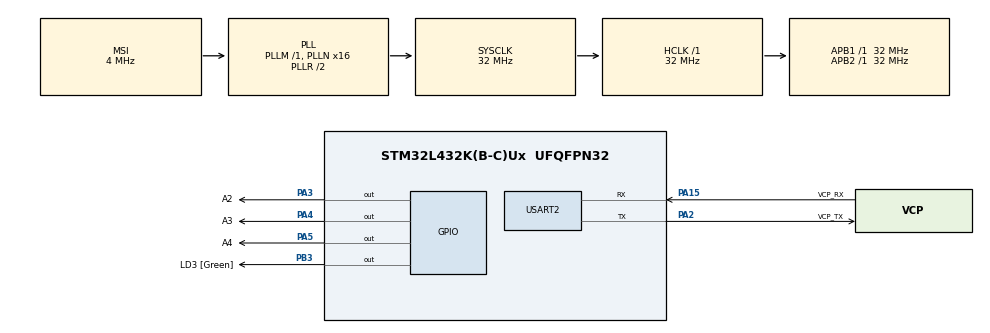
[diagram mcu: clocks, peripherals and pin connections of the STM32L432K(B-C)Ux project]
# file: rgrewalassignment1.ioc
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Mcu.Family=STM32L4
Mcu.Name=STM32L432K(B-C)Ux
Mcu.Package=UFQFPN32
NVIC.PriorityGroup=NVIC_PRIORITYGROUP_4
PA0.GPIO_Label=MCO [High speed clock in]
PA0.Mode=HSE-External-Clock-Source-for-LittleOrca
PA0.Signal=RCC_CK_IN
PA13\ (JTMS-SWDIO).GPIO_Label=SWDIO
PA13\ (JTMS-SWDIO).Mode=Serial_Wire
PA13\ (JTMS-SWDIO).Signal=SYS_JTMS-SWDIO
PA14\ (JTCK-SWCLK).GPIO_Label=SWCLK
PA14\ (JTCK-SWCLK).Mode=Serial_Wire
PA14\ (JTCK-SWCLK).Signal=SYS_JTCK-SWCLK
PA15\ (JTDI).GPIO_Label=VCP_RX
PA15\ (JTDI).Mode=Asynchronous
PA15\ (JTDI).Signal=USART2_RX
PA2.GPIO_Label=VCP_TX
PA2.Mode=Asynchronous
PA2.Signal=USART2_TX
PA3.GPIO_Label=A2
PA3.Signal=GPIO_Output
PA4.GPIO_Label=A3
PA4.Signal=GPIO_Output
PA5.GPIO_Label=A4
PA5.Signal=GPIO_Output
PB3\ (JTDO-TRACESWO).GPIO_Label=LD3 [Green]
PB3\ (JTDO-TRACESWO).Signal=GPIO_Output
PC14-OSC32_IN\ (PC14).Mode=LSE-External-Oscillator
PC14-OSC32_IN\ (PC14).Signal=RCC_OSC32_IN
PC15-OSC32_OUT\ (PC15).Mode=LSE-External-Oscillator
PC15-OSC32_OUT\ (PC15).Signal=RCC_OSC32_OUT
ProjectManager.HeapSize=0x200
ProjectManager.StackSize=0x400
ProjectManager.TargetToolchain=STM32CubeIDE
RCC.AHBFreq_Value=32000000
RCC.APB1Freq_Value=32000000
RCC.APB1TimFreq_Value=32000000
RCC.APB2Freq_Value=32000000
RCC.APB2TimFreq_Value=32000000
RCC.CortexFreq_Value=32000000
RCC.HCLKFreq_Value=32000000
RCC.HSE_VALUE=8000000
RCC.HSI16_VALUE=16000000
RCC.HSI48_VALUE=48000000
RCC.HSI_VALUE=16000000
RCC.MSI_VALUE=4000000
RCC.PLLMUL=RCC_PLLMUL_4
RCC.PLLN=16
RCC.SYSCLKFreq_VALUE=32000000
RCC.SYSCLKSource=RCC_SYSCLKSOURCE_PLLCLK
RCC.VCOOutputFreq_Value=64000000
USART2.VirtualMode-Asynchronous=VM_ASYNC
board=NUCLEO-L432KC

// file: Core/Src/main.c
/* USER CODE BEGIN Header */
/**
  ******************************************************************************
  * @file           : main.c
  * @brief          : Main program body
  ******************************************************************************
  * @attention
  *
  * Copyright (c) 2023 STMicroelectronics.
  * All rights reserved.
  *
  * This software is licensed under terms that can be found in the LICENSE file
  * in the root directory of this software component.
  * If no LICENSE file comes with this software, it is provided AS-IS.
  *
  ******************************************************************************
  */
/* USER CODE END Header */
#include "main.h"

UART_HandleTypeDef huart2;

void SystemClock_Config(void);
static void MX_GPIO_Init(void);
static void MX_USART2_UART_Init(void);
void shortBurst(uint8_t ledColor);
void longBurst(uint8_t ledColor);

int main(void)
{

  /* MCU Configuration--------------------------------------------------------*/

  /* Reset of all peripherals, Initializes the Flash interface and the Systick. */
  HAL_Init();

  /* Configure the system clock */
  SystemClock_Config();

  /* Initialize all configured peripherals */
  MX_GPIO_Init();
  MX_USART2_UART_Init();

  /* Infinite loop */
  /* USER CODE BEGIN WHILE */
  uint8_t ledColor = 0;
  while (1)
  {
    /* USER CODE END WHILE */

    /* USER CODE BEGIN 3 */

    if(ledColor == 1){
    // morse code r
    shortBurst(1);
    longBurst(1);
    shortBurst(1);

    //morse code s
    shortBurst(2);
    shortBurst(2);
    shortBurst(2);

    //morse code g
    longBurst(3);
    longBurst(3);
    shortBurst(3);
    ledColor = 0;
    }
    else{

    // morse code r
    shortBurst(0);
    longBurst(0);
    shortBurst(0);

    //morse code s
    shortBurst(0);
    shortBurst(0);
    shortBurst(0);

    //morse code g
    longBurst(0);
    longBurst(0);
    shortBurst(0);
    ledColor = 1;
    }
    HAL_Delay(1000);
  }
  /* USER CODE END 3 */
}

void SystemClock_Config(void)
{
  RCC_OscInitTypeDef RCC_OscInitStruct = {0};
  RCC_ClkInitTypeDef RCC_ClkInitStruct = {0};

  /** Configure the main internal regulator output voltage
  */
  if (HAL_PWREx_ControlVoltageScaling(PWR_REGULATOR_VOLTAGE_SCALE1) != HAL_OK)
  {
    Error_Handler();
  }

  /** Configure LSE Drive Capability
  */
  HAL_PWR_EnableBkUpAccess();
  __HAL_RCC_LSEDRIVE_CONFIG(RCC_LSEDRIVE_LOW);

  /** Initializes the RCC Oscillators according to the specified parameters
  * in the RCC_OscInitTypeDef structure.
  */
  RCC_OscInitStruct.OscillatorType = RCC_OSCILLATORTYPE_LSE|RCC_OSCILLATORTYPE_MSI;
  RCC_OscInitStruct.LSEState = RCC_LSE_ON;
  RCC_OscInitStruct.MSIState = RCC_MSI_ON;
  RCC_OscInitStruct.MSICalibrationValue = 0;
  RCC_OscInitStruct.MSIClockRange = RCC_MSIRANGE_6;
  RCC_OscInitStruct.PLL.PLLState = RCC_PLL_ON;
  RCC_OscInitStruct.PLL.PLLSource = RCC_PLLSOURCE_MSI;
  RCC_OscInitStruct.PLL.PLLM = 1;
  RCC_OscInitStruct.PLL.PLLN = 16;
  RCC_OscInitStruct.PLL.PLLP = RCC_PLLP_DIV7;
  RCC_OscInitStruct.PLL.PLLQ = RCC_PLLQ_DIV2;
  RCC_OscInitStruct.PLL.PLLR = RCC_PLLR_DIV2;
  if (HAL_RCC_OscConfig(&RCC_OscInitStruct) != HAL_OK)
  {
    Error_Handler();
  }

  /** Initializes the CPU, AHB and APB buses clocks
  */
  RCC_ClkInitStruct.ClockType = RCC_CLOCKTYPE_HCLK|RCC_CLOCKTYPE_SYSCLK
                              |RCC_CLOCKTYPE_PCLK1|RCC_CLOCKTYPE_PCLK2;
  RCC_ClkInitStruct.SYSCLKSource = RCC_SYSCLKSOURCE_PLLCLK;
  RCC_ClkInitStruct.AHBCLKDivider = RCC_SYSCLK_DIV1;
  RCC_ClkInitStruct.APB1CLKDivider = RCC_HCLK_DIV1;
  RCC_ClkInitStruct.APB2CLKDivider = RCC_HCLK_DIV1;

  if (HAL_RCC_ClockConfig(&RCC_ClkInitStruct, FLASH_LATENCY_1) != HAL_OK)
  {
    Error_Handler();
  }

  /** Enable MSI Auto calibration
  */
  HAL_RCCEx_EnableMSIPLLMode();
}

static void MX_USART2_UART_Init(void)
{

  huart2.Instance = USART2;
  huart2.Init.BaudRate = 115200;
  huart2.Init.WordLength = UART_WORDLENGTH_8B;
  huart2.Init.StopBits = UART_STOPBITS_1;
  huart2.Init.Parity = UART_PARITY_NONE;
  huart2.Init.Mode = UART_MODE_TX_RX;
  huart2.Init.HwFlowCtl = UART_HWCONTROL_NONE;
  huart2.Init.OverSampling = UART_OVERSAMPLING_16;
  huart2.Init.OneBitSampling = UART_ONE_BIT_SAMPLE_DISABLE;
  huart2.AdvancedInit.AdvFeatureInit = UART_ADVFEATURE_NO_INIT;
  if (HAL_UART_Init(&huart2) != HAL_OK)
  {
    Error_Handler();
  }

}

static void MX_GPIO_Init(void)
{
  GPIO_InitTypeDef GPIO_InitStruct = {0};

  /* GPIO Ports Clock Enable */
  __HAL_RCC_GPIOC_CLK_ENABLE();
  __HAL_RCC_GPIOA_CLK_ENABLE();
  __HAL_RCC_GPIOB_CLK_ENABLE();

  /*Configure GPIO pin Output Level */
  HAL_GPIO_WritePin(GPIOA, A2_Pin|A3_Pin|A4_Pin, GPIO_PIN_RESET);

  /*Configure GPIO pin Output Level */
  HAL_GPIO_WritePin(LD3_GPIO_Port, LD3_Pin, GPIO_PIN_RESET);

  /*Configure GPIO pins : A2_Pin A3_Pin A4_Pin */
  GPIO_InitStruct.Pin = A2_Pin|A3_Pin|A4_Pin;
  GPIO_InitStruct.Mode = GPIO_MODE_OUTPUT_PP;
  GPIO_InitStruct.Pull = GPIO_NOPULL;
  GPIO_InitStruct.Speed = GPIO_SPEED_FREQ_LOW;
  HAL_GPIO_Init(GPIOA, &GPIO_InitStruct);

  /*Configure GPIO pin : LD3_Pin */
  GPIO_InitStruct.Pin = LD3_Pin;
  GPIO_InitStruct.Mode = GPIO_MODE_OUTPUT_PP;
  GPIO_InitStruct.Pull = GPIO_NOPULL;
  GPIO_InitStruct.Speed = GPIO_SPEED_FREQ_LOW;
  HAL_GPIO_Init(LD3_GPIO_Port, &GPIO_InitStruct);

}

void Error_Handler(void)
{
  __disable_irq();
  while (1)
  {
  }
}

void shortBurst(uint8_t ledColor ){
	switch(ledColor){
		// for the inbuilt-led
    	case 0:
    		HAL_GPIO_WritePin(GPIOB,GPIO_PIN_3,GPIO_PIN_SET);
    		HAL_Delay(100);
    		HAL_GPIO_WritePin(GPIOB,GPIO_PIN_3,GPIO_PIN_RESET);
    		HAL_Delay(100);
    		break;
    	// for the red led
    	case 1:
    		HAL_GPIO_WritePin(GPIOA,A2_Pin,GPIO_PIN_SET);
    		HAL_Delay(100);
    		HAL_GPIO_WritePin(GPIOA,A2_Pin,GPIO_PIN_RESET);
    		HAL_Delay(100);
    		break;
    	// for the blue led
    	case 2:
    		HAL_GPIO_WritePin(GPIOA,A3_Pin,GPIO_PIN_SET);
    		HAL_Delay(100);
    		HAL_GPIO_WritePin(GPIOA,A3_Pin,GPIO_PIN_RESET);
    		HAL_Delay(100);
    		break;
    	// for the green led
    	case 3:
    		HAL_GPIO_WritePin(GPIOA,A4_Pin,GPIO_PIN_SET);
    		HAL_Delay(100);
    		HAL_GPIO_WritePin(GPIOA,A4_Pin,GPIO_PIN_RESET);
    		HAL_Delay(100);
    		break;

	}
}
void longBurst(uint8_t ledColor){
	switch(ledColor){
		// for inbuilt-led
    	case 0:
    		HAL_GPIO_WritePin(GPIOB,GPIO_PIN_3,GPIO_PIN_SET);
    		HAL_Delay(1000);
    		HAL_GPIO_WritePin(GPIOB,GPIO_PIN_3,GPIO_PIN_RESET);
    		HAL_Delay(100);
    		break;
    	// for the red led
    	case 1:
    		HAL_GPIO_WritePin(GPIOA,A2_Pin,GPIO_PIN_SET);
    		HAL_Delay(1000);
    		HAL_GPIO_WritePin(GPIOA,A2_Pin,GPIO_PIN_RESET);
    		HAL_Delay(100);
    		break;
    	// for the blue led
    	case 2:
    		HAL_GPIO_WritePin(GPIOA,A3_Pin,GPIO_PIN_SET);
    		HAL_Delay(1000);
    		HAL_GPIO_WritePin(GPIOA,A3_Pin,GPIO_PIN_RESET);
    		HAL_Delay(100);
    		break;
    	// for the green led
    	case 3:
    		HAL_GPIO_WritePin(GPIOA,A4_Pin,GPIO_PIN_SET);
    		HAL_Delay(500);
    		HAL_GPIO_WritePin(GPIOA,A4_Pin,GPIO_PIN_RESET);
    		HAL_Delay(100);
    		break;

	}
}
